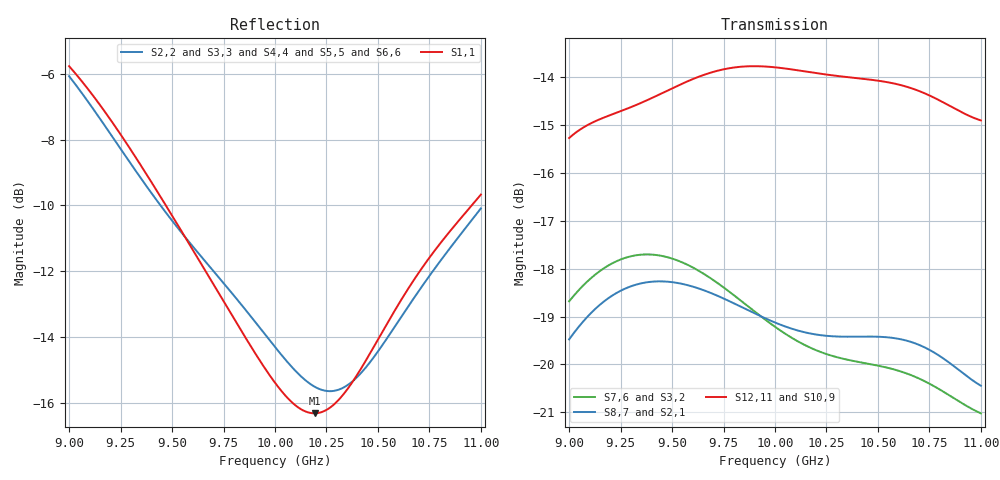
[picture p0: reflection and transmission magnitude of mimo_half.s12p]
! TOUCHSTONE file generated by CST MICROWAVE STUDIO
! Date and time: Thu Oct 22 19:13:50 2026
! Project name: mimo_half.cst
! Parameters = {y_tx=30; gap=0.5; r_wire=0.25; l_dip=12.5}
! Header version: 2024
! Port assignment regex: !\s*Touchstone port\s*([0-9]+)\s*=\s*(CST MWS port|CST DES external port|CST DES block port)\s*(.+)\s* \(\"(.*)\"\)(\s*mode\s*([0-9]+))?.*
! Touchstone port assignment:
! Touchstone port 1 = CST MWS port 1 ("rx1")
! Touchstone port 2 = CST MWS port 2 ("rx2")
! Touchstone port 3 = CST MWS port 3 ("rx3")
! Touchstone port 4 = CST MWS port 4 ("rx4")
! Touchstone port 5 = CST MWS port 5 ("rx5")
! Touchstone port 6 = CST MWS port 6 ("rx6")
! Touchstone port 7 = CST MWS port 7 ("rx7")
! Touchstone port 8 = CST MWS port 8 ("rx8")
! Touchstone port 9 = CST MWS port 9 ("tx1")
! Touchstone port 10 = CST MWS port 10 ("tx2")
! Touchstone port 11 = CST MWS port 11 ("tx3")
! Touchstone port 12 = CST MWS port 12 ("tx4")
# GHz S MA R 50
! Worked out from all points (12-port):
!   1001 points, 9 GHz to 11 GHz, reference 50 ohm
!   strongest paths, dB at 9 GHz, 9.5 GHz, 10 GHz, 10.5 GHz, 11 GHz:
!     S12,11: -15.3, -14.2, -13.8, -14.1, -14.9
!     S10,9: -15.3, -14.2, -13.8, -14.1, -14.9
!     S8,7: -19.5, -18.3, -19.1, -19.4, -20.4
!     S2,1: -19.5, -18.3, -19.1, -19.4, -20.4
!     S7,6: -18.7, -17.8, -19.2, -20.0, -21.0
!     S3,2: -18.7, -17.8, -19.2, -20.0, -21.0
!   lowest |S11| = -16.3 dB at 10.19 GHz (marker M1), VSWR 1.36, Z = 66.5 - j6.76 ohm
!   |S11| at or under -10 dB: 9.47 GHz to 10.96 GHz (1.485 GHz wide, 14.5 % of centre)
